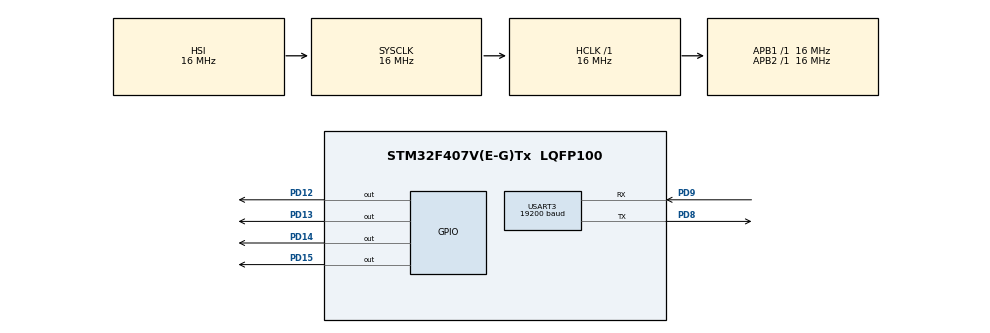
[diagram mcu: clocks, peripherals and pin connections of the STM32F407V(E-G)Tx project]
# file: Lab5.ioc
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Mcu.Family=STM32F4
Mcu.Name=STM32F407V(E-G)Tx
Mcu.Package=LQFP100
NVIC.PriorityGroup=NVIC_PRIORITYGROUP_4
PD12.Signal=GPIO_Output
PD13.Signal=GPIO_Output
PD14.Signal=GPIO_Output
PD15.Signal=GPIO_Output
PD8.Mode=Asynchronous
PD8.Signal=USART3_TX
PD9.Mode=Asynchronous
PD9.Signal=USART3_RX
ProjectManager.HeapSize=0x200
ProjectManager.StackSize=0x400
ProjectManager.TargetToolchain=STM32CubeIDE
RCC.AHBFreq_Value=16000000
RCC.APB1Freq_Value=16000000
RCC.APB2Freq_Value=16000000
RCC.CortexFreq_Value=16000000
RCC.HSE_VALUE=25000000
RCC.HSI_VALUE=16000000
RCC.LSE_VALUE=32768
RCC.SYSCLKFreq_VALUE=16000000
RCC.VCOOutputFreq_Value=192000000
USART3.BaudRate=19200
USART3.VirtualMode=VM_ASYNC
board=custom

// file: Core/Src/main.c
/* USER CODE BEGIN Header */
/**
  ******************************************************************************
  * @file           : main.c
  * @brief          : Main program body
  ******************************************************************************
  * @attention
  *
  * Copyright (c) 2024 STMicroelectronics.
  * All rights reserved.
  *
  * This software is licensed under terms that can be found in the LICENSE file
  * in the root directory of this software component.
  * If no LICENSE file comes with this software, it is provided AS-IS.
  *
  ******************************************************************************
  */
/* USER CODE END Header */
#include "main.h"

UART_HandleTypeDef huart3;

void SystemClock_Config(void);
static void MX_GPIO_Init(void);
static void MX_USART3_UART_Init(void);

int main(void)
{

  /* MCU Configuration--------------------------------------------------------*/

  /* Reset of all peripherals, Initializes the Flash interface and the Systick. */
  HAL_Init();

  /* Configure the system clock */
  SystemClock_Config();

  /* Initialize all configured peripherals */
  MX_GPIO_Init();
  MX_USART3_UART_Init();
  /* USER CODE BEGIN 2 */
  uint8_t isGreenOn, isOrangeOn, isRedOn, isBlueOn = 0;
  /* USER CODE END 2 */

  /* Infinite loop */
  /* USER CODE BEGIN WHILE */
  while (1)
  {
	uint8_t rcvBuf[1];
	HAL_StatusTypeDef result;

	result = HAL_UART_Receive(&huart3, rcvBuf, 1, 10);

	if (result == HAL_OK)
	{
	  switch (rcvBuf[0])
	  {
	    case '1':
	      if (isGreenOn)
	      {
	    	HAL_GPIO_WritePin(GPIOD, GPIO_PIN_12, GPIO_PIN_RESET);
	    	HAL_UART_Transmit(&huart3, (uint8_t *)" - Green OFF\r\n", 14, 100);
	      }
	      else
	      {
	    	HAL_GPIO_WritePin(GPIOD, GPIO_PIN_12, GPIO_PIN_SET);
		    HAL_UART_Transmit(&huart3, (uint8_t *)" - Green ON\r\n", 13, 100);
	      }
	      isGreenOn = !isGreenOn;
	      break;

	    case '2':
	      if (isOrangeOn)
	      {
	    	HAL_GPIO_WritePin(GPIOD, GPIO_PIN_13, GPIO_PIN_RESET);
	    	HAL_UART_Transmit(&huart3, (uint8_t *)" - Orange OFF\r\n", 15, 100);
	      }
	      else
	      {
	    	HAL_GPIO_WritePin(GPIOD, GPIO_PIN_13, GPIO_PIN_SET);
		    HAL_UART_Transmit(&huart3, (uint8_t *)" - Orange ON\r\n", 14, 100);
	      }
	      isOrangeOn = !isOrangeOn;
	      break;

	    case '3':
	      if (isRedOn)
	      {
	    	HAL_GPIO_WritePin(GPIOD, GPIO_PIN_14, GPIO_PIN_RESET);
	    	HAL_UART_Transmit(&huart3, (uint8_t *)" - Red OFF\r\n", 12, 100);
	      }
	      else
	      {
	    	HAL_GPIO_WritePin(GPIOD, GPIO_PIN_14, GPIO_PIN_SET);
		    HAL_UART_Transmit(&huart3, (uint8_t *)" - Red ON\r\n", 11, 100);
	      }
	      isRedOn = !isRedOn;
	      break;

	    case '4':
	      if (isBlueOn)
	      {
		    HAL_GPIO_WritePin(GPIOD, GPIO_PIN_15, GPIO_PIN_RESET);
		    HAL_UART_Transmit(&huart3, (uint8_t *)" - Blue OFF\r\n", 13, 100);
	      }
	      else
	      {
		    HAL_GPIO_WritePin(GPIOD, GPIO_PIN_15, GPIO_PIN_SET);
		    HAL_UART_Transmit(&huart3, (uint8_t *)" - Blue ON\r\n", 12, 100);
	      }
	      isBlueOn = !isBlueOn;
		  break;

	    case '9':
	      HAL_GPIO_WritePin(GPIOD, GPIO_PIN_12, GPIO_PIN_SET);
	      HAL_GPIO_WritePin(GPIOD, GPIO_PIN_13, GPIO_PIN_SET);
	      HAL_GPIO_WritePin(GPIOD, GPIO_PIN_14, GPIO_PIN_SET);
	      HAL_GPIO_WritePin(GPIOD, GPIO_PIN_15, GPIO_PIN_SET);
		  HAL_UART_Transmit(&huart3, (uint8_t *)" - All ON\r\n", 11, 100);
		  isGreenOn = 1;
		  isOrangeOn = 1;
		  isRedOn = 1;
		  isBlueOn = 1;
		  break;

	    case '0':
	      HAL_GPIO_WritePin(GPIOD, GPIO_PIN_12, GPIO_PIN_RESET);
	      HAL_GPIO_WritePin(GPIOD, GPIO_PIN_13, GPIO_PIN_RESET);
	      HAL_GPIO_WritePin(GPIOD, GPIO_PIN_14, GPIO_PIN_RESET);
	      HAL_GPIO_WritePin(GPIOD, GPIO_PIN_15, GPIO_PIN_RESET);
		  HAL_UART_Transmit(&huart3, (uint8_t *)" - All OFF\r\n", 12, 100);
		  isGreenOn = 0;
		  isOrangeOn = 0;
		  isRedOn = 0;
		  isBlueOn = 0;
		  break;

	    default:
	      HAL_UART_Transmit(&huart3, (uint8_t *)" - UnexpCmd\r\n", 13, 100);
	      break;
	  }
	}
    /* USER CODE END WHILE */

  }
}

void SystemClock_Config(void)
{
  RCC_OscInitTypeDef RCC_OscInitStruct = {0};
  RCC_ClkInitTypeDef RCC_ClkInitStruct = {0};

  /** Configure the main internal regulator output voltage
  */
  __HAL_RCC_PWR_CLK_ENABLE();
  __HAL_PWR_VOLTAGESCALING_CONFIG(PWR_REGULATOR_VOLTAGE_SCALE1);

  /** Initializes the RCC Oscillators according to the specified parameters
  * in the RCC_OscInitTypeDef structure.
  */
  RCC_OscInitStruct.OscillatorType = RCC_OSCILLATORTYPE_HSI;
  RCC_OscInitStruct.HSIState = RCC_HSI_ON;
  RCC_OscInitStruct.HSICalibrationValue = RCC_HSICALIBRATION_DEFAULT;
  RCC_OscInitStruct.PLL.PLLState = RCC_PLL_NONE;
  if (HAL_RCC_OscConfig(&RCC_OscInitStruct) != HAL_OK)
  {
    Error_Handler();
  }

  /** Initializes the CPU, AHB and APB buses clocks
  */
  RCC_ClkInitStruct.ClockType = RCC_CLOCKTYPE_HCLK|RCC_CLOCKTYPE_SYSCLK
                              |RCC_CLOCKTYPE_PCLK1|RCC_CLOCKTYPE_PCLK2;
  RCC_ClkInitStruct.SYSCLKSource = RCC_SYSCLKSOURCE_HSI;
  RCC_ClkInitStruct.AHBCLKDivider = RCC_SYSCLK_DIV1;
  RCC_ClkInitStruct.APB1CLKDivider = RCC_HCLK_DIV1;
  RCC_ClkInitStruct.APB2CLKDivider = RCC_HCLK_DIV1;

  if (HAL_RCC_ClockConfig(&RCC_ClkInitStruct, FLASH_LATENCY_0) != HAL_OK)
  {
    Error_Handler();
  }
}

static void MX_USART3_UART_Init(void)
{

  huart3.Instance = USART3;
  huart3.Init.BaudRate = 19200;
  huart3.Init.WordLength = UART_WORDLENGTH_8B;
  huart3.Init.StopBits = UART_STOPBITS_1;
  huart3.Init.Parity = UART_PARITY_NONE;
  huart3.Init.Mode = UART_MODE_TX_RX;
  huart3.Init.HwFlowCtl = UART_HWCONTROL_NONE;
  huart3.Init.OverSampling = UART_OVERSAMPLING_16;
  if (HAL_UART_Init(&huart3) != HAL_OK)
  {
    Error_Handler();
  }

}

static void MX_GPIO_Init(void)
{
  GPIO_InitTypeDef GPIO_InitStruct = {0};

  /* GPIO Ports Clock Enable */
  __HAL_RCC_GPIOD_CLK_ENABLE();

  /*Configure GPIO pin Output Level */
  HAL_GPIO_WritePin(GPIOD, GPIO_PIN_12|GPIO_PIN_13|GPIO_PIN_14|GPIO_PIN_15, GPIO_PIN_RESET);

  /*Configure GPIO pins : PD12 PD13 PD14 PD15 */
  GPIO_InitStruct.Pin = GPIO_PIN_12|GPIO_PIN_13|GPIO_PIN_14|GPIO_PIN_15;
  GPIO_InitStruct.Mode = GPIO_MODE_OUTPUT_PP;
  GPIO_InitStruct.Pull = GPIO_NOPULL;
  GPIO_InitStruct.Speed = GPIO_SPEED_FREQ_LOW;
  HAL_GPIO_Init(GPIOD, &GPIO_InitStruct);

}

void Error_Handler(void)
{
  __disable_irq();
  while (1)
  {
  }
}
